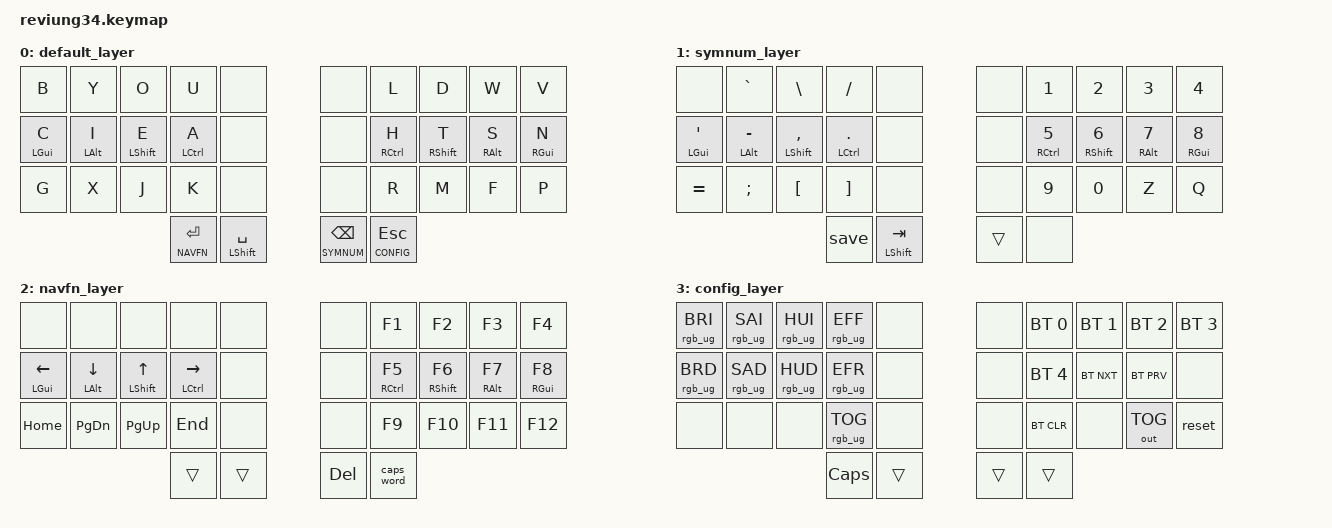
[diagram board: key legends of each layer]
/*
 * Copyright (c) 2020 The ZMK Contributors
 *
 * SPDX-License-Identifier: MIT
 */

#include <behaviors.dtsi>
#include <dt-bindings/zmk/keys.h>
#include <dt-bindings/zmk/bt.h>
#include <dt-bindings/zmk/rgb.h>
#include <dt-bindings/zmk/outputs.h>



#define DEFAULT 0
#define SYMNUM 1
#define NAVFN 2
#define CONFIG 3

/ {    
    macros {
            ZMK_MACRO(save,
              wait-ms = <30>;
              tap-ms = <40>;
              bindings =  <&macro_tap &kp ESC &kp COLON &kp W &kp RET>;
            )
    };

    behaviors {
        hrm: homerow_mods {
            compatible = "zmk,behavior-hold-tap";
            label = "HOMEROW_MODS";
            #binding-cells = <2>;
            tapping-term-ms = <200>;    // <---[[moderate duration]]
            quick-tap-ms = <100>;
            flavor = "balanced";
            bindings = <&kp>, <&kp>;
            // global-quick-tap; // <--- makes I'm really hard to type
        };
    };

        keymap {
                compatible = "zmk,keymap";

                default_layer {
// -------------------------------------------------------------------------------------------
// |  B      |  Y      |  O       |  U       |   |  L        |  D        |  W      |  V      | 
// | LGUI(C) | LALT(I) | LSHFT(E) | LCTRL(A) |   | RCTRL(H)  | RSHFT(T)  | RALT(S) | RGUI(N) |
// | G       | X       | J        | K        |   | R         | M         | F       | P       |
//                     | RET      | NAV(SPC) |   | SYM(BSPC) | CONF(ESC) |
                        bindings = <
   &kp B      &kp Y      &kp O       &kp U       &none &none &kp L         &kp D       &kp W       &kp V
   &hrm LGUI C &hrm LALT I &hrm LSHFT E &hrm LCTRL A &none &none &hrm RCTRL H   &hrm RSHFT T &hrm RALT S  &hrm RGUI N
   &kp G      &kp X      &kp J       &kp K       &none &none &kp R         &kp M       &kp F       &kp P
                        &lt NAVFN RET  &mt LSHFT SPACE  &lt SYMNUM BSPC &lt CONFIG ESC
                        >;
                };

                symnum_layer {
// -------------------------------------------------------------------------------------------
// |         |  `      |  \       |  /       |   |  1        |  2        |  3      |  4      | 
// | LGUI(') | LALT(-) | LSHFT(,) | LCTRL(.) |   | RCTRL(5)  | RSHFT(6)  | RALT(7) | RGUI(8) |
// | =       | ;       | [        | ]        |   | 9         | 0         | Z       | Q       |
//                     | SAVE     | TAB      |   |           |           |
                        bindings = <
   &none      &kp GRAVE  &kp BSLH    &kp FSLH    &none &none &kp N1        &kp N2      &kp N3      &kp N4
   &hrm LGUI SQT &hrm LALT MINUS &hrm LSHFT COMMA &hrm LCTRL DOT &none &none &hrm RCTRL N5   &hrm RSHFT N6 &hrm RALT N7  &hrm RGUI N8
   &kp EQUAL      &kp SEMI      &kp LBKT       &kp RBKT       &none &none &kp N9         &kp N0       &kp Z       &kp Q
                        &save  &mt LSHFT TAB &trans &none
                        >;
                };
                
                navfn_layer {
// -------------------------------------------------------------------------------------------
// |         |         |          |          |   | F1        | F2        | F3      | F4      | 
// | LGUI(LFT) | LALT(DWN) | LSHFT(UP) | LCTRL(RGT) |   | RCTRL(F5)  | RSHFT(F6)  | RALT(F7) | RGUI(F8) |
// | HOME       | PGDN       | PGUP        | END        |   | F9         | F10         | F11       | F12       |
//                     |          |          |   | DEL       |           |
                        bindings = <
   &none      &none  &none    &none    &none &none &kp F1        &kp F2      &kp F3      &kp F4
   &hrm LGUI LEFT &hrm LALT DOWN &hrm LSHFT UP &hrm LCTRL RIGHT &none &none &hrm RCTRL F5   &hrm RSHFT F6 &hrm RALT F7  &hrm RGUI F8
   &kp HOME      &kp PG_DN      &kp PG_UP       &kp END       &none &none &kp F9         &kp F10       &kp F11       &kp F12
                        &trans  &trans &kp DEL &caps_word
                        >;
                };
               
                config_layer {
// -----------------------------------------------------------------------------------------
// | RGB BRI+ | RGB SAT+ | RGB HUE+ | RGB ANI+ |    | BT1  | BT2 | BT3 | BT4 |
// | RGB BRI- | RGB SAT- | RGB HUE- | RGB ANI+ |    | BT5   |       |     |     |
// |          |          |          | RGB TOG  |    | BT CLR |     |     | RESET     |
//                                              |     |     |     |     |     |
                        bindings = <
   &rgb_ug RGB_BRI &rgb_ug RGB_SAI &rgb_ug RGB_HUI &rgb_ug RGB_EFF &none &none &bt BT_SEL 0 &bt BT_SEL 1 &bt BT_SEL 2 &bt BT_SEL 3  
   &rgb_ug RGB_BRD &rgb_ug RGB_SAD &rgb_ug RGB_HUD &rgb_ug RGB_EFR &none &none &bt BT_SEL 4 &bt BT_NXT &bt BT_PRV        &none     
   &none           &none           &none           &rgb_ug RGB_TOG &none &none &bt BT_CLR   &none &out OUT_TOG        &reset   
                                                             &kp CAPS      &trans               &trans      &trans
                        >;
                };
        };
};
